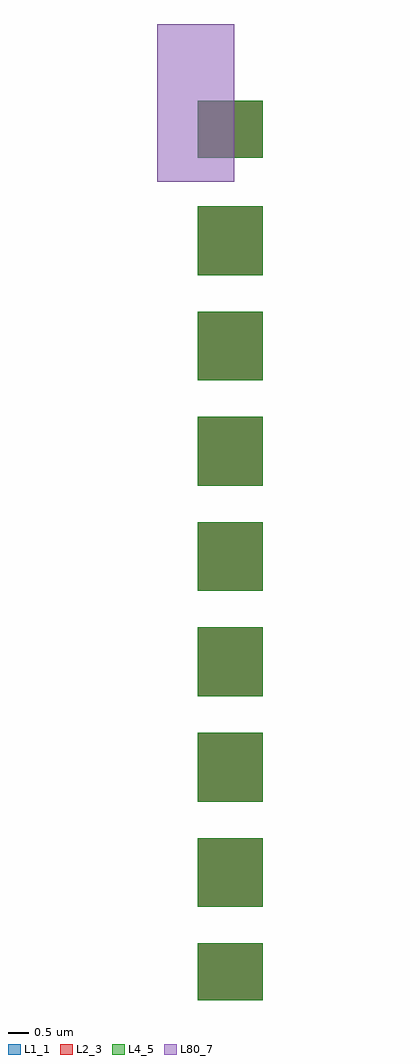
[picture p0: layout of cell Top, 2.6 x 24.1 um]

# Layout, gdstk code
import gdstk
lib = gdstk.Library(unit=1e-6, precision=1e-09)
def R(c, l, rs):  # rectangles x0, y0, x1, y1
    for r in rs: c.add(gdstk.rectangle(r[:2], r[2:], *l))
def A(c, l, x, y, w, h, nx, ny, dx, dy):  # array of equal rectangles
    R(c, l, [(x+i*dx, y+j*dy, x+i*dx+w, y+j*dy+h) for i in range(nx) for j in range(ny)])
L1_1 = (1, 1)
L2_3 = (2, 3)
L4_5 = (4, 5)
L80_7 = (80, 7)

c_ab = lib.new_cell('ab')
A(c_ab, L1_1, 1, -17.9, 1.6, 1.4, 1, 7, 0, 2.6)
A(c_ab, L2_3, 1, -17.9, 1.6, 1.4, 1, 7, 0, 2.6)
A(c_ab, L4_5, 1, -17.9, 1.6, 1.4, 1, 7, 0, 2.6)
R(c_ab, L80_7, [(0,0,1.9,1)])
c_ab.add(gdstk.Label('s5', (2.3,-1), layer=1, texttype=1))
c_ab.add(gdstk.Label('s5', (2.3,-3.6), layer=1, texttype=1))
c_ab.add(gdstk.Label('s5', (2.3,-6.2), layer=1, texttype=1))
c_ab.add(gdstk.Label('s5', (2.3,-8.8), layer=1, texttype=1))
c_ab.add(gdstk.Label('s5', (2.3,-11.4), layer=1, texttype=1))
c_ab.add(gdstk.Label('s5', (2.3,-14), layer=1, texttype=1))
c_ab.add(gdstk.Label('s5', (2.3,-16.6), layer=1, texttype=1))
c_ab.add(gdstk.Label('s5', (2.3,-1), layer=1, texttype=3))
c_ab.add(gdstk.Label('s5', (2.3,-3.6), layer=1, texttype=3))
c_ab.add(gdstk.Label('s5', (2.3,-6.2), layer=1, texttype=3))
c_ab.add(gdstk.Label('s5', (2.3,-8.8), layer=1, texttype=3))
c_ab.add(gdstk.Label('s5', (2.3,-11.4), layer=1, texttype=3))
c_ab.add(gdstk.Label('s5', (2.3,-14), layer=1, texttype=3))
c_ab.add(gdstk.Label('s5', (2.3,-16.6), layer=1, texttype=3))
c_ab.add(gdstk.Label('s5', (2.3,-1), layer=4, texttype=5))
c_ab.add(gdstk.Label('s5', (2.3,-3.6), layer=4, texttype=5))
c_ab.add(gdstk.Label('s5', (2.3,-6.2), layer=4, texttype=5))
c_ab.add(gdstk.Label('s5', (2.3,-8.8), layer=4, texttype=5))
c_ab.add(gdstk.Label('s5', (2.3,-11.4), layer=4, texttype=5))
c_ab.add(gdstk.Label('s5', (2.3,-14), layer=4, texttype=5))
c_ab.add(gdstk.Label('s5', (2.3,-16.6), layer=4, texttype=5))

c_cd = lib.new_cell('cd')
A(c_cd, L1_1, 1, -21.2, 1.6, 1.4, 1, 9, 0, 2.6)
A(c_cd, L2_3, 1, -21.2, 1.6, 1.4, 1, 9, 0, 2.6)
A(c_cd, L4_5, 1, -21.2, 1.6, 1.4, 1, 9, 0, 2.6)
R(c_cd, L80_7, [(0,0,1.9,2.9)])
c_cd.add(gdstk.Label('s8', (2.3,0.9), layer=1, texttype=1))
c_cd.add(gdstk.Label('s8', (2.3,-1.7), layer=1, texttype=1))
c_cd.add(gdstk.Label('s8', (2.3,-4.3), layer=1, texttype=1))
c_cd.add(gdstk.Label('s8', (2.3,-6.9), layer=1, texttype=1))
c_cd.add(gdstk.Label('s8', (2.3,-9.5), layer=1, texttype=1))
c_cd.add(gdstk.Label('s8', (2.3,-12.1), layer=1, texttype=1))
c_cd.add(gdstk.Label('s8', (2.3,-14.7), layer=1, texttype=1))
c_cd.add(gdstk.Label('s8', (2.3,-17.3), layer=1, texttype=1))
c_cd.add(gdstk.Label('s8', (2.3,-19.9), layer=1, texttype=1))
c_cd.add(gdstk.Label('s8', (2.3,0.9), layer=1, texttype=3))
c_cd.add(gdstk.Label('s8', (2.3,-1.7), layer=1, texttype=3))
c_cd.add(gdstk.Label('s8', (2.3,-4.3), layer=1, texttype=3))
c_cd.add(gdstk.Label('s8', (2.3,-6.9), layer=1, texttype=3))
c_cd.add(gdstk.Label('s8', (2.3,-9.5), layer=1, texttype=3))
c_cd.add(gdstk.Label('s8', (2.3,-12.1), layer=1, texttype=3))
c_cd.add(gdstk.Label('s8', (2.3,-14.7), layer=1, texttype=3))
c_cd.add(gdstk.Label('s8', (2.3,-17.3), layer=1, texttype=3))
c_cd.add(gdstk.Label('s8', (2.3,-19.9), layer=1, texttype=3))
c_cd.add(gdstk.Label('s8', (2.3,0.9), layer=4, texttype=5))
c_cd.add(gdstk.Label('s8', (2.3,-1.7), layer=4, texttype=5))
c_cd.add(gdstk.Label('s8', (2.3,-4.3), layer=4, texttype=5))
c_cd.add(gdstk.Label('s8', (2.3,-6.9), layer=4, texttype=5))
c_cd.add(gdstk.Label('s8', (2.3,-9.5), layer=4, texttype=5))
c_cd.add(gdstk.Label('s8', (2.3,-12.1), layer=4, texttype=5))
c_cd.add(gdstk.Label('s8', (2.3,-14.7), layer=4, texttype=5))
c_cd.add(gdstk.Label('s8', (2.3,-17.3), layer=4, texttype=5))
c_cd.add(gdstk.Label('s8', (2.3,-19.9), layer=4, texttype=5))

top = lib.new_cell('Top')
top.add(gdstk.Reference(c_ab, (0,0)))
top.add(gdstk.Reference(c_cd, (0,1)))

lib.write_gds('Top.gds')
